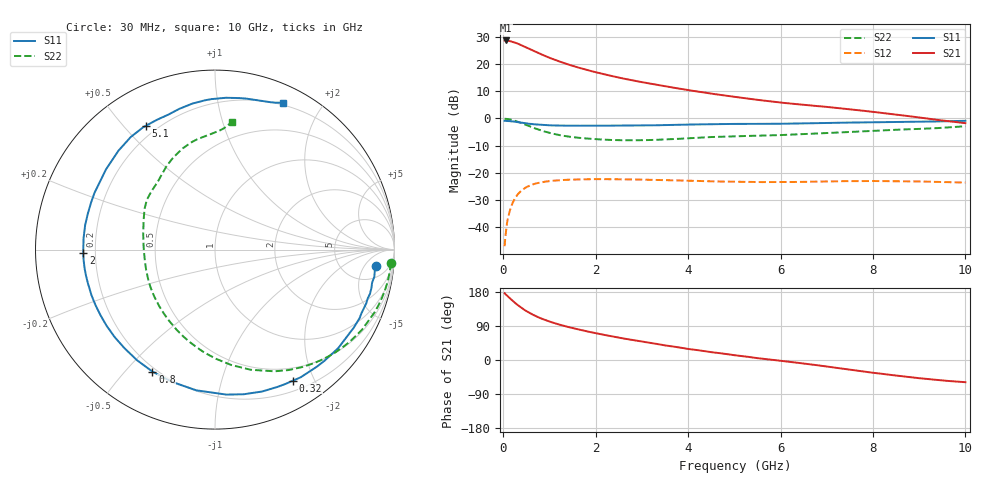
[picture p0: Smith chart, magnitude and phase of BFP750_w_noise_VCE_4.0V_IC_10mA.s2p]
! Infineon Technologies  Discrete & RF Semiconductors
! BFP750
! VCE =  4.0 V,  IC =  10 mA
! Common Emitter S-Parameters:  Jan 2016
# GHz  S  MA  R  50
!  f  S11  S21  S12  S22
! GHz  MAG  ANG  MAG  ANG  MAG  ANG  MAG  ANG
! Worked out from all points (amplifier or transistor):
!   229 points, 30 MHz to 10 GHz, reference 50 ohm
!   highest |S21| = 28.6 dB at 50 MHz (marker M1)
!   |S21| within 3 dB of that: start of sweep to 555.2 MHz
!   unconditionally stable (mu >= 1): 5.22 GHz to end of sweep
!   at 280 MHz: K = 0.09, MSG = 28.2 dB, |S12| = -28.7 dB
!   at 1.78 GHz: K = 0.36, MSG = 20.1 dB, |S12| = -22.4 dB
!   at 10 GHz: K = 1.14, MAG = 8.6 dB, |S12| = -23.6 dB
!   lowest NFmin = 0.64 dB at 450 MHz
!   S11 on the Smith chart (normalised r, x): 30 MHz: 10, -9; 320 MHz: 0.33, -1.71; 800 MHz: 0.18, -0.60; 2 GHz: 0.15, -0.01; 5.1 GHz: 0.16, +0.58; 10 GHz: 0.18, +1.55
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0.03  0.8993 -5.9  26.78 176.2  0.0045 75.2  0.9824 -4.4
0.05  0.9005 -9.6  26.93 173.4  0.0071 79.2  0.9815 -7.2
0.1  0.8942 -19.7  26.61 168.0  0.0144 75.8  0.9714 -14.5
0.2  0.8789 -38.7  25.46 156.6  0.0276 67.4  0.9331 -28.5
0.32  0.8497 -59.2  23.45 144.5  0.0407 57.0  0.8647 -43.9
0.4  0.8332 -71.6  21.97 137.0  0.0476 50.9  0.8158 -53.3
0.5  0.8103 -85.5  20.09 129.0  0.0545 44.1  0.755 -63.9
0.6  0.791 -97.5  18.3 122.0  0.0597 38.4  0.6988 -73.4
0.7  0.7751 -108.0  16.71 115.9  0.0636 33.4  0.6493 -82.0
0.8  0.7637 -117.2  15.3 110.5  0.0665 29.2  0.607 -89.8
1  0.7456 -132.6  12.96 101.4  0.0706 22.4  0.5416 -103.5
1.2  0.7382 -144.9  11.18 93.9  0.0731 17.0  0.4962 -115.3
1.42  0.7337 -156.1  9.672 86.7  0.0747 12.3  0.462 -126.4
1.7  0.7335 -167.9  8.223 78.7  0.0759 7.4  0.4342 -138.7
2  0.7344 -178.6  7.038 70.8  0.0765 2.9  0.4154 -150.2
2.6  0.7364 164.2  5.378 56.8  0.0759 -4.1  0.3962 -170.1
3.4  0.7495 145.8  4.02 40.8  0.0739 -10.9  0.4064 169.4
4  0.7701 134.3  3.304 29.2  0.0716 -14.9  0.4308 157.4
5.1  0.7901 119.1  2.423 11.3  0.0683 -18.9  0.4718 142.6
6.8  0.8166 101.0  1.679 -13.9  0.069 -23.2  0.5278 122.0
8.4  0.8553 80.8  1.2 -39.6  0.0704 -31.6  0.6131 102.1
10  0.9014 65.2  0.816 -58.6  0.0662 -38.6  0.7175 82.4
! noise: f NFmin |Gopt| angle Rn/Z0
0.45  0.64  0.24  2  0.09
0.9  0.66  0.21  16  0.02
1.5  0.68  0.13  78  0.06
1.9  0.71  0.12  115  0.08
2.4  0.78  0.17  153  0.08
3.5  1.07  0.24  -166  0.05
